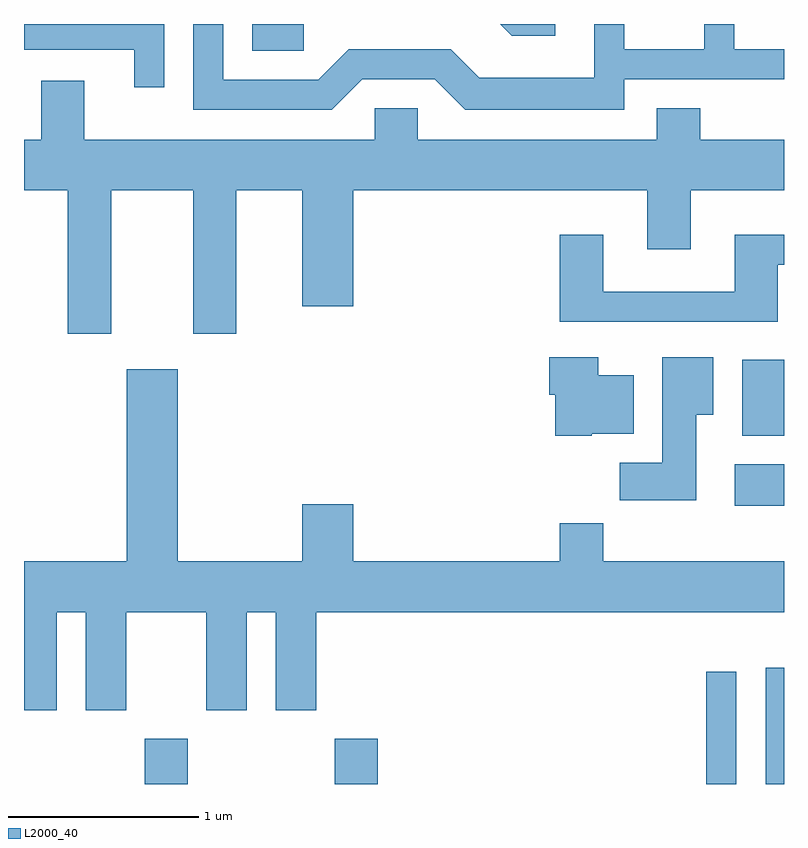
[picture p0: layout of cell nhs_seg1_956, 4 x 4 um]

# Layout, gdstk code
import gdstk
lib = gdstk.Library(unit=1e-6, precision=1e-09)
def R(c, l, rs):  # rectangles x0, y0, x1, y1
    for r in rs: c.add(gdstk.rectangle(r[:2], r[2:], *l))
def P(c, l, *ps):  # polygons
    for p in ps: c.add(gdstk.Polygon(p, *l))
L2000_40 = (2000, 40)

nhs_seg1_956 = lib.new_cell('nhs_seg1_956')
R(nhs_seg1_956, L2000_40, [(214.246,969.712,214.474,969.949), (215.246,969.712,215.474,969.949), (217.201,969.712,217.359,970.303), (217.516,969.712,217.611,970.324), (217.351,971.176,217.611,971.394), (217.391,971.546,217.611,971.944), (214.811,973.571,215.083,973.712)])
P(nhs_seg1_956, L2000_40, [(215.392,973.421),(215.774,973.421),(215.934,973.261),(216.769,973.261),(216.769,973.421),(217.611,973.421),(217.611,973.579),(217.349,973.579),(217.349,973.712),(217.191,973.712),(217.191,973.579),(216.769,973.579),(216.769,973.712),(216.611,973.712),(216.611,973.429),(216.007,973.429),(215.857,973.579),(215.319,973.579),(215.159,973.419),(214.659,973.419),(214.659,973.712),(214.501,973.712),(214.501,973.261),(215.232,973.261)],
  [(214.349,973.712),(213.611,973.712),(213.611,973.576),(214.191,973.576),(214.191,973.378),(214.349,973.378)],
  [(216.408,973.712),(216.118,973.712),(216.179,973.651),(216.408,973.651)],
  [(213.929,973.414),(213.701,973.414),(213.701,973.104),(213.611,973.104),(213.611,972.836),(213.841,972.836),(213.841,972.081),(214.069,972.081),(214.069,972.836),(214.501,972.836),(214.501,972.081),(214.729,972.081),(214.729,972.836),(215.076,972.836),(215.076,972.226),(215.344,972.226),(215.344,972.836),(216.891,972.836),(216.891,972.526),(217.119,972.526),(217.119,972.836),(217.611,972.836),(217.611,973.104),(217.169,973.104),(217.169,973.269),(216.941,973.269),(216.941,973.104),(215.684,973.104),(215.684,973.269),(215.456,973.269),(215.456,973.104),(213.929,973.104)],
  [(217.579,972.446),(217.611,972.446),(217.611,972.604),(217.351,972.604),(217.351,972.304),(216.659,972.304),(216.659,972.604),(216.431,972.604),(216.431,972.146),(217.579,972.146)],
  [(216.6,971.556),(216.819,971.556),(216.819,971.864),(216.634,971.864),(216.634,971.959),(216.376,971.959),(216.376,971.761),(216.406,971.761),(216.406,971.546),(216.6,971.546)],
  [(217.149,971.656),(217.239,971.656),(217.239,971.959),(216.971,971.959),(216.971,971.404),(216.746,971.404),(216.746,971.206),(217.149,971.206)],
  [(213.784,970.616),(213.936,970.616),(213.936,970.101),(214.149,970.101),(214.149,970.616),(214.571,970.616),(214.571,970.101),(214.784,970.101),(214.784,970.616),(214.936,970.616),(214.936,970.101),(215.149,970.101),(215.149,970.616),(217.611,970.616),(217.611,970.884),(216.659,970.884),(216.659,971.084),(216.431,971.084),(216.431,970.884),(215.344,970.884),(215.344,971.184),(215.076,971.184),(215.076,970.884),(214.419,970.884),(214.419,971.894),(214.151,971.894),(214.151,970.884),(213.611,970.884),(213.611,970.101),(213.784,970.101)])

lib.write_gds('nhs_seg1_956.gds')
